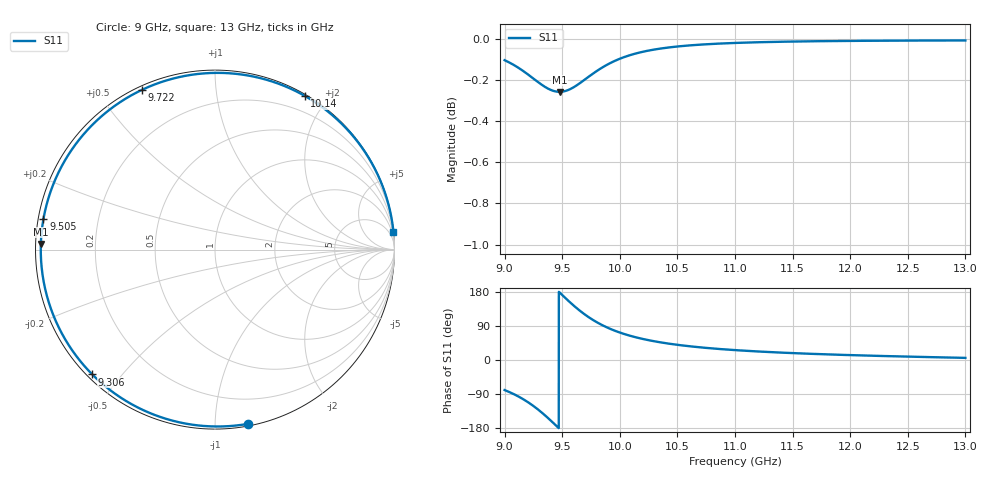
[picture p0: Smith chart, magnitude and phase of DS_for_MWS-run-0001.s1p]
! TOUCHSTONE file generated by CST DESIGN STUDIO
! Date and time: Tue Feb  4 12:31:02 2025
! Project name: C:\Work\MatlabApps\UnitCellOptimizationMatlab\CST\unitcell.cst
! Tree item: Tasks\Sweep1\SPara1\S-Parameters
! Header version: 2024
! Port assignment regex: !\s*Touchstone port\s*([0-9]+)\s*=\s*(CST MWS port|CST DES external port|CST DES block port)\s*(.+)\s* \(\"(.*)\"\)(\s*mode\s*([0-9]+))?.*
! Touchstone port assignment:
! Touchstone port 1 = CST DES external port 1 ("")
# GHz S MA R 50
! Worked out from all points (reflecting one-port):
!   4001 points, 9 GHz to 13 GHz, reference 50 ohm
!   lowest |S11| = -0.3 dB at 9.477 GHz (marker M1), VSWR 67.42, Z = 0.742 + j0.813 ohm
!   phase of S11 starts at -79 deg and turns -275 deg over the sweep
!   S11 on the Smith chart (normalised r, x): 9 GHz: 0.01, -1.21; 9.306 GHz: 0.01, -0.42; 9.505 GHz: 0.01, +0.09; 9.722 GHz: 0.02, +0.64; 10.14 GHz: 0.02, +1.74; 13 GHz: 0, +20
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9  0.9881 -79.3
9.076  0.9856 -89.5
9.173  0.9816 -105.6
9.242  0.9784 -119.5
9.306  0.9754 -134.5
9.351  0.9734 -146.1
9.398  0.9719 -159.1
9.438  0.971 -170.5
9.477  0.9708 178.1
9.5  0.9709 171.4
9.505  0.9709 170.0
9.557  0.9719 155.2
9.617  0.9739 139.1
9.669  0.9762 126.3
9.722  0.9787 114.6
9.778  0.9812 103.7
9.84  0.9838 93.2
9.919  0.9866 81.9
10  0.9889 72.5
10.141  0.9919 59.8
10.303  0.9941 49.2
10.5  0.9957 40.1
10.722  0.9969 32.7
11  0.9977 26.1
11.5  0.9985 18.2
12  0.9988 12.9
12.5  0.999 8.9
13  0.9991 5.6
